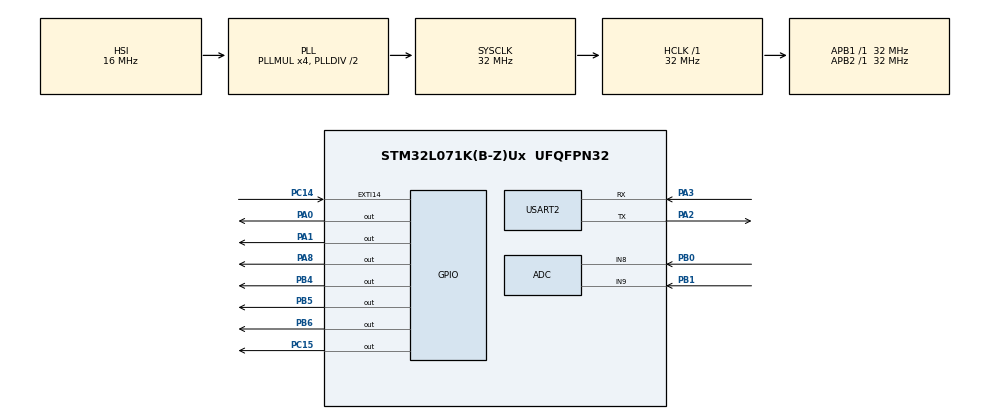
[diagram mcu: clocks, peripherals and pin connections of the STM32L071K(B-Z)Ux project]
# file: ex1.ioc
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ADC.DiscontinuousConvMode=ENABLE
Dma.MEMTOMEM.1.Direction=DMA_MEMORY_TO_MEMORY
Dma.MEMTOMEM.1.Instance=DMA1_Channel1
Dma.MEMTOMEM.1.MemDataAlignment=DMA_MDATAALIGN_BYTE
Dma.MEMTOMEM.1.MemInc=DMA_MINC_ENABLE
Dma.MEMTOMEM.1.Mode=DMA_NORMAL
Dma.MEMTOMEM.1.PeriphDataAlignment=DMA_PDATAALIGN_BYTE
Dma.MEMTOMEM.1.PeriphInc=DMA_PINC_ENABLE
Dma.MEMTOMEM.1.Priority=DMA_PRIORITY_LOW
Dma.Request0=USART2_RX
Dma.Request1=MEMTOMEM
Dma.USART2_RX.0.Direction=DMA_PERIPH_TO_MEMORY
Dma.USART2_RX.0.Instance=DMA1_Channel5
Dma.USART2_RX.0.MemDataAlignment=DMA_MDATAALIGN_HALFWORD
Dma.USART2_RX.0.MemInc=DMA_MINC_ENABLE
Dma.USART2_RX.0.Mode=DMA_CIRCULAR
Dma.USART2_RX.0.PeriphDataAlignment=DMA_PDATAALIGN_HALFWORD
Dma.USART2_RX.0.PeriphInc=DMA_PINC_DISABLE
Dma.USART2_RX.0.Priority=DMA_PRIORITY_LOW
Mcu.Family=STM32L0
Mcu.Name=STM32L071K(B-Z)Ux
Mcu.Package=UFQFPN32
NVIC.ADC1_COMP_IRQn=true\:0\:0\:false\:false\:true\:true\:true
NVIC.DMA1_Channel4_5_6_7_IRQn=true\:0\:0\:false\:false\:true\:false\:true
NVIC.TIM3_IRQn=true\:0\:0\:false\:false\:true\:true\:true
NVIC.TIM6_IRQn=true\:0\:0\:false\:false\:true\:true\:true
NVIC.USART2_IRQn=true\:0\:0\:false\:false\:true\:true\:true
PA0.Signal=GPIO_Output
PA1.Signal=GPIO_Output
PA13.Mode=Serial_Wire
PA13.Signal=SYS_SWDIO
PA14.Mode=Serial_Wire
PA14.Signal=SYS_SWCLK
PA2.Mode=Asynchronous
PA2.Signal=USART2_TX
PA3.Mode=Asynchronous
PA3.Signal=USART2_RX
PA8.Signal=GPIO_Output
PB0.Mode=IN8
PB0.Signal=ADC_IN8
PB1.Mode=IN9
PB1.Signal=ADC_IN9
PB4.Signal=GPIO_Output
PB5.Signal=GPIO_Output
PB6.Signal=GPIO_Output
PC14-OSC32_IN.Signal=GPXTI14
PC15-OSC32_OUT.Signal=GPIO_Output
ProjectManager.HeapSize=0x200
ProjectManager.StackSize=0x400
ProjectManager.TargetToolchain=MDK-ARM V5
RCC.AHBFreq_Value=32000000
RCC.APB1Freq_Value=32000000
RCC.APB1TimFreq_Value=32000000
RCC.APB2Freq_Value=32000000
RCC.APB2TimFreq_Value=32000000
RCC.HCLKFreq_Value=32000000
RCC.HSI16_VALUE=16000000
RCC.HSI_VALUE=16000000
RCC.LSE_VALUE=32768
RCC.MSI_VALUE=2097000
RCC.PLLMUL=RCC_PLLMUL_4
RCC.SYSCLKFreq_VALUE=32000000
RCC.SYSCLKSource=RCC_SYSCLKSOURCE_PLLCLK
RCC.VCOOutputFreq_Value=64000000
RTC.Format=RTC_FORMAT_BIN
RTC.SynchPrediv=307
TIM3.Period=999
TIM3.Prescaler=37
TIM6.Period=999
TIM6.Prescaler=31
USART2.VirtualMode-Asynchronous=VM_ASYNC
VP_CRC_VS_CRC.Mode=CRC_Activate
VP_RTC_VS_RTC_Activate.Mode=RTC_Enabled
VP_RTC_VS_RTC_Calendar.Mode=RTC_Calendar
VP_TIM3_VS_ClockSourceINT.Mode=Internal
VP_TIM6_VS_ClockSourceINT.Mode=Enable_Timer
board=custom

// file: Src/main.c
/* USER CODE BEGIN Header */
/**
  ******************************************************************************
  * @file           : main.c
  * @brief          : Main program body
  ******************************************************************************
  * @attention
  *
  * <h2><center>&copy; Copyright (c) 2019 STMicroelectronics.
  * All rights reserved.</center></h2>
  *
  * This software component is licensed by ST under BSD 3-Clause license,
  * the "License"; You may not use this file except in compliance with the
  * License. You may obtain a copy of the License at:
  *                        opensource.org/licenses/BSD-3-Clause
  *
  ******************************************************************************
  */
/* USER CODE END Header */

#include "main.h"
#include "adc.h"
#include "crc.h"
#include "dma.h"
#include "rtc.h"
#include "tim.h"
#include "usart.h"
#include "gpio.h"

/* USER CODE BEGIN PTD */

#include "string.h"
#include "stdio.h"

unsigned char send[50];
unsigned char reci[50];
/* USER CODE END PTD */

void SystemClock_Config(void);
/* USER CODE BEGIN PFP */

int fputc(int ch,FILE *f)
{
	HAL_UART_Transmit(&huart2, (uint8_t *)&ch, 1, 0XFF);

	return ch;
}

/* USER CODE END PFP */

/* USER CODE BEGIN 0 */
void Task_BrdInit(void)
{
    HAL_GPIO_WritePin(GPIOC, GPIO_PIN_15, GPIO_PIN_SET);

    OLED_PowerControl(ENABLE);

    HAL_Delay(200);
    OLED_Init();
    OLED_Clear();

    OLED_ShowString(0, 0, (unsigned char *)"                ", 16);
    OLED_ShowString(0, 2, (unsigned char *)"                ", 16);

}
/* USER CODE END 0 */

int main(void)
{
  /* USER CODE BEGIN 1 */
    char lcdLine_1st_line[16];
    char lcdLine_2st_line[16];

  /* USER CODE END 1 */

  /* MCU Configuration--------------------------------------------------------*/

  /* Reset of all peripherals, Initializes the Flash interface and the Systick. */
  HAL_Init();

  /* Configure the system clock */
  SystemClock_Config();

  /* Initialize all configured peripherals */
  MX_GPIO_Init();
  MX_DMA_Init();
  MX_ADC_Init();
  MX_CRC_Init();
  MX_USART2_UART_Init();
  MX_RTC_Init();
  MX_TIM3_Init();
  MX_TIM6_Init();
  /* USER CODE BEGIN 2 */
    Task_BrdInit();

//		printf("x");

//		HAL_UART_Transmit(&huart2,send,sizeof(send),100);
//		HAL_UART_Receive_DMA(&huart2,reci,sizeof(reci));

		__HAL_UART_CLEAR_IDLEFLAG(&huart2);
		__HAL_UART_ENABLE_IT(&huart2, UART_IT_IDLE);
		 HAL_UART_Receive_DMA(&huart2, reci, 50);
  /* USER CODE END 2 */

  /* Infinite loop */
    while (1)
    {

    /* USER CODE BEGIN 3 */
			sprintf(lcdLine_1st_line, "GXCT IOT       ");
			sprintf(lcdLine_2st_line, "Hello World    ");

			OLED_ShowString(0, 0, (unsigned char *)lcdLine_1st_line, 16);
			OLED_ShowString(0, 2, (unsigned char *)lcdLine_2st_line, 16);
//			if(reci[1]=='1')
//			{
//				HAL_GPIO_TogglePin(GPIOC, GPIO_PIN_15);
//			}
    }
  /* USER CODE END 3 */
}
/* USER CODE BEGIN 4 */
//void HAL_UART_RxHalfCpltCallback(UART_HandleTypeDef *huart)

unsigned char str[50];
unsigned char i;
void rx(void)
{
	//if(__HAL_UART_GET_FLAG(&huart2, UART_IT_IDLE) == SET)
	{
		__HAL_UART_CLEAR_IDLEFLAG(&huart2);
		HAL_UART_DMAStop(&huart2);

		for(i = 0;i< 50;i++)
		{
			str[i] = reci[i];
		}

		//printf("%s",reci);

		memset(reci,0,50);

		HAL_UART_Receive_DMA(&huart2, reci, 50);
	}
}
/* USER CODE END 4 */

void SystemClock_Config(void)
{
  RCC_OscInitTypeDef RCC_OscInitStruct = {0};
  RCC_ClkInitTypeDef RCC_ClkInitStruct = {0};
  RCC_PeriphCLKInitTypeDef PeriphClkInit = {0};

  /** Configure the main internal regulator output voltage
  */
  __HAL_PWR_VOLTAGESCALING_CONFIG(PWR_REGULATOR_VOLTAGE_SCALE1);
  /** Initializes the CPU, AHB and APB busses clocks
  */
  RCC_OscInitStruct.OscillatorType = RCC_OSCILLATORTYPE_HSI|RCC_OSCILLATORTYPE_LSI;
  RCC_OscInitStruct.HSIState = RCC_HSI_ON;
  RCC_OscInitStruct.HSICalibrationValue = RCC_HSICALIBRATION_DEFAULT;
  RCC_OscInitStruct.LSIState = RCC_LSI_ON;
  RCC_OscInitStruct.PLL.PLLState = RCC_PLL_ON;
  RCC_OscInitStruct.PLL.PLLSource = RCC_PLLSOURCE_HSI;
  RCC_OscInitStruct.PLL.PLLMUL = RCC_PLLMUL_4;
  RCC_OscInitStruct.PLL.PLLDIV = RCC_PLLDIV_2;
  if (HAL_RCC_OscConfig(&RCC_OscInitStruct) != HAL_OK)
  {
    Error_Handler();
  }
  /** Initializes the CPU, AHB and APB busses clocks
  */
  RCC_ClkInitStruct.ClockType = RCC_CLOCKTYPE_HCLK|RCC_CLOCKTYPE_SYSCLK
                              |RCC_CLOCKTYPE_PCLK1|RCC_CLOCKTYPE_PCLK2;
  RCC_ClkInitStruct.SYSCLKSource = RCC_SYSCLKSOURCE_PLLCLK;
  RCC_ClkInitStruct.AHBCLKDivider = RCC_SYSCLK_DIV1;
  RCC_ClkInitStruct.APB1CLKDivider = RCC_HCLK_DIV1;
  RCC_ClkInitStruct.APB2CLKDivider = RCC_HCLK_DIV1;

  if (HAL_RCC_ClockConfig(&RCC_ClkInitStruct, FLASH_LATENCY_1) != HAL_OK)
  {
    Error_Handler();
  }
  PeriphClkInit.PeriphClockSelection = RCC_PERIPHCLK_USART2|RCC_PERIPHCLK_RTC;
  PeriphClkInit.Usart2ClockSelection = RCC_USART2CLKSOURCE_PCLK1;
  PeriphClkInit.RTCClockSelection = RCC_RTCCLKSOURCE_LSI;
  if (HAL_RCCEx_PeriphCLKConfig(&PeriphClkInit) != HAL_OK)
  {
    Error_Handler();
  }
}

void Error_Handler(void)
{
}

/************************ (C) COPYRIGHT STMicroelectronics *****END OF FILE****/
